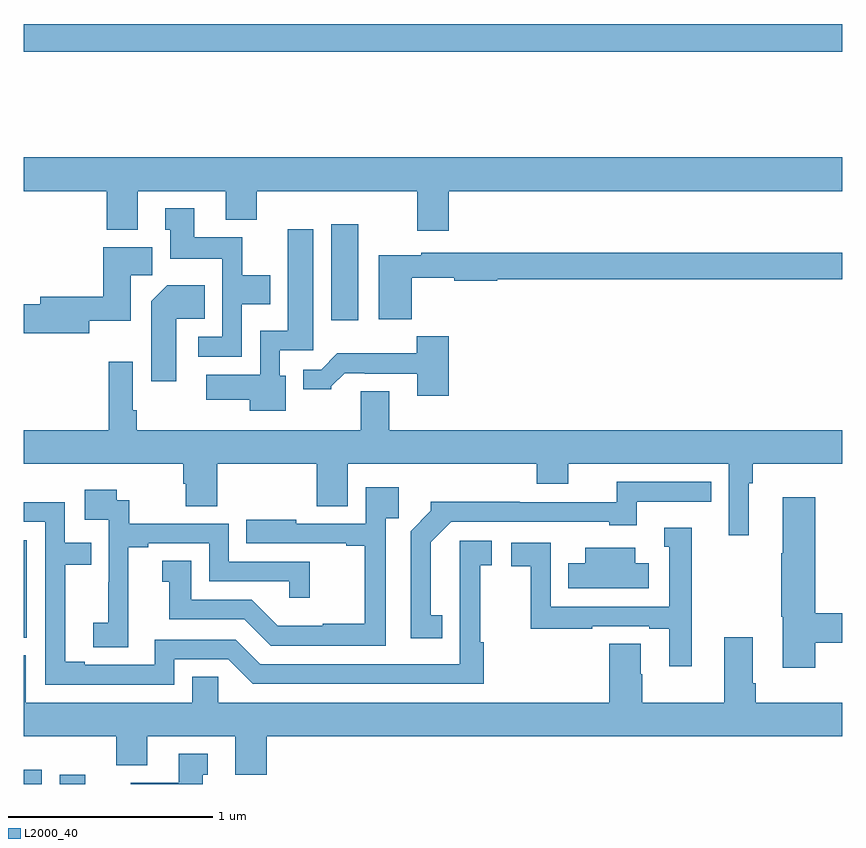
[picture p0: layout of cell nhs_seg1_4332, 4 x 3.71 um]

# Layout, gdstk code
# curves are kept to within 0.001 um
import gdstk
lib = gdstk.Library(unit=1e-6, precision=1e-09)
def R(c, l, rs):  # rectangles x0, y0, x1, y1
    for r in rs: c.add(gdstk.rectangle(r[:2], r[2:], *l))
def P(c, l, *ps):  # polygons
    for p in ps: c.add(gdstk.Polygon(p, *l))
L2000_40 = (2000, 40)

nhs_seg1_4332 = lib.new_cell('nhs_seg1_4332')
R(nhs_seg1_4332, L2000_40, [(347,518.199,347.089,518.269), (347.177,518.199,347.302,518.245), (347,518.913,347.016,519.39), (348.503,520.464,348.634,520.933), (347,521.776,351,521.912)])
P(nhs_seg1_4332, L2000_40, [(349.076,521.096),(351,521.096),(351,521.26),(347,521.26),(347,521.096),(347.405,521.096),(347.405,520.907),(347.557,520.907),(347.557,521.096),(347.987,521.096),(347.987,520.955),(348.14,520.955),(348.14,521.096),(348.923,521.096),(348.923,520.902),(349.076,520.902)],
  [(348.066,520.544),(348.205,520.544),(348.205,520.684),(348.069,520.684),(348.069,520.87),(347.833,520.87),(347.833,521.011),(347.693,521.011),(347.693,520.908),(347.717,520.908),(347.717,520.766),(347.97,520.766),(347.97,520.383),(347.853,520.383),(347.853,520.287),(348.066,520.287)],
  [(348.28,520.194),(348.252,520.194),(348.252,520.317),(348.415,520.317),(348.415,520.909),(348.29,520.909),(348.29,520.414),(348.156,520.414),(348.156,520.198),(347.892,520.198),(347.892,520.076),(348.104,520.076),(348.104,520.022),(348.28,520.022)],
  [(347.32,520.463),(347.524,520.463),(347.524,520.684),(347.629,520.684),(347.629,520.822),(347.39,520.822),(347.39,520.58),(347.081,520.58),(347.081,520.544),(347,520.544),(347,520.402),(347.32,520.402)],
  [(348.896,520.673),(349.104,520.673),(349.104,520.658),(349.314,520.658),(349.314,520.666),(351,520.666),(351,520.795),(348.942,520.795),(348.942,520.783),(348.734,520.783),(348.734,520.469),(348.896,520.469)],
  [(347.746,520.472),(347.885,520.472),(347.885,520.636),(347.702,520.636),(347.624,520.558),(347.624,520.167),(347.746,520.167)],
  [(349.076,520.387),(348.921,520.387),(348.921,520.303),(348.532,520.303),(348.453,520.224),(348.365,520.224),(348.365,520.127),(348.504,520.127),(348.504,520.142),(348.568,520.206),(348.667,520.206),(348.667,520.203),(348.923,520.203),(348.923,520.097),(349.076,520.097)],
  [(350.542,519.668),(350.561,519.668),(350.561,519.764),(351,519.764),(351,519.928),(348.787,519.928),(348.787,520.118),(348.647,520.118),(348.647,519.928),(347.552,519.928),(347.552,520.024),(347.532,520.024),(347.532,520.261),(347.416,520.261),(347.416,519.928),(347,519.928),(347,519.764),(347.78,519.764),(347.78,519.666),(347.792,519.666),(347.792,519.556),(347.945,519.556),(347.945,519.764),(348.431,519.764),(348.431,519.556),(348.583,519.556),(348.583,519.764),(349.508,519.764),(349.508,519.665),(349.66,519.665),(349.66,519.764),(350.445,519.764),(350.445,519.414),(350.542,519.414)],
  [(349.046,519.023),(348.988,519.023),(348.988,519.379),(349.089,519.48),(349.86,519.48),(349.86,519.464),(349.996,519.464),(349.996,519.579),(350.36,519.579),(350.36,519.675),(349.897,519.675),(349.897,519.576),(349.424,519.576),(349.424,519.578),(348.99,519.578),(348.99,519.533),(348.891,519.434),(348.891,518.91),(349.046,518.91)],
  [(348.768,519.497),(348.833,519.497),(348.833,519.649),(348.672,519.649),(348.672,519.471),(348.331,519.471),(348.331,519.49),(348.088,519.49),(348.088,519.375),(348.575,519.375),(348.575,519.363),(348.667,519.363),(348.667,518.983),(348.461,518.983),(348.461,518.971),(348.242,518.971),(348.114,519.099),(347.818,519.099),(347.818,519.29),(347.678,519.29),(347.678,519.187),(347.711,519.187),(347.711,519.003),(348.078,519.003),(348.207,518.874),(348.768,518.874)],
  [(347.51,518.977),(347.512,518.977),(347.512,519.355),(347.608,519.355),(347.608,519.375),(347.907,519.375),(347.907,519.189),(348.297,519.189),(348.297,519.108),(348.398,519.108),(348.398,519.285),(348.003,519.285),(348.003,519.471),(347.516,519.471),(347.516,519.585),(347.454,519.585),(347.454,519.637),(347.298,519.637),(347.298,519.489),(347.415,519.489),(347.415,519.185),(347.414,519.185),(347.414,518.988),(347.34,518.988),(347.34,518.866),(347.51,518.866)],
  [(350.867,518.89),(351,518.89),(351,519.032),(350.867,519.032),(350.867,519.601),(350.708,519.601),(350.708,519.326),(350.701,519.326),(350.701,519.015),(350.708,519.015),(350.708,518.766),(350.867,518.766)],
  [(347.736,518.808),(348,518.808),(348.12,518.688),(349.247,518.688),(349.247,518.891),(349.23,518.891),(349.23,519.267),(349.288,519.267),(349.288,519.388),(349.13,519.388),(349.131,518.784),(348.156,518.784),(348.036,518.904),(347.64,518.904),(347.64,518.781),(347.299,518.781),(347.299,518.796),(347.203,518.796),(347.203,519.27),(347.33,519.27),(347.33,519.378),(347.202,519.378),(347.202,519.576),(347,519.576),(347,519.48),(347.106,519.48),(347.106,518.685),(347.736,518.685)],
  [(350.263,519.451),(350.129,519.451),(350.129,519.357),(350.154,519.357),(350.154,519.066),(349.575,519.066),(349.575,519.378),(349.383,519.378),(349.383,519.262),(349.477,519.262),(349.477,518.958),(349.778,518.958),(349.778,518.97),(350.057,518.97),(350.057,518.958),(350.153,518.958),(350.153,518.775),(350.263,518.775)],
  [(350.053,519.277),(349.987,519.277),(349.987,519.352),(349.745,519.352),(349.745,519.277),(349.66,519.277),(349.66,519.155),(350.053,519.155)],
  [(348.188,518.432),(351,518.432),(351,518.596),(350.576,518.596),(350.576,518.692),(350.563,518.692),(350.563,518.917),(350.423,518.917),(350.423,518.596),(350.022,518.596),(350.022,518.735),(350.014,518.735),(350.014,518.885),(349.862,518.885),(349.862,518.596),(347.952,518.596),(347.952,518.723),(347.825,518.723),(347.825,518.596),(347.011,518.596),(347.011,518.828),(347,518.828),(347,518.432),(347.453,518.432),(347.453,518.291),(347.605,518.291),(347.605,518.432),(348.035,518.432),(348.035,518.243),(348.188,518.243)],
  [(347.875,518.244),(347.899,518.244),(347.899,518.347),(347.759,518.347),(347.759,518.206),(347.524,518.206),(347.524,518.199),(347.875,518.199)])

lib.write_gds('nhs_seg1_4332.gds')
